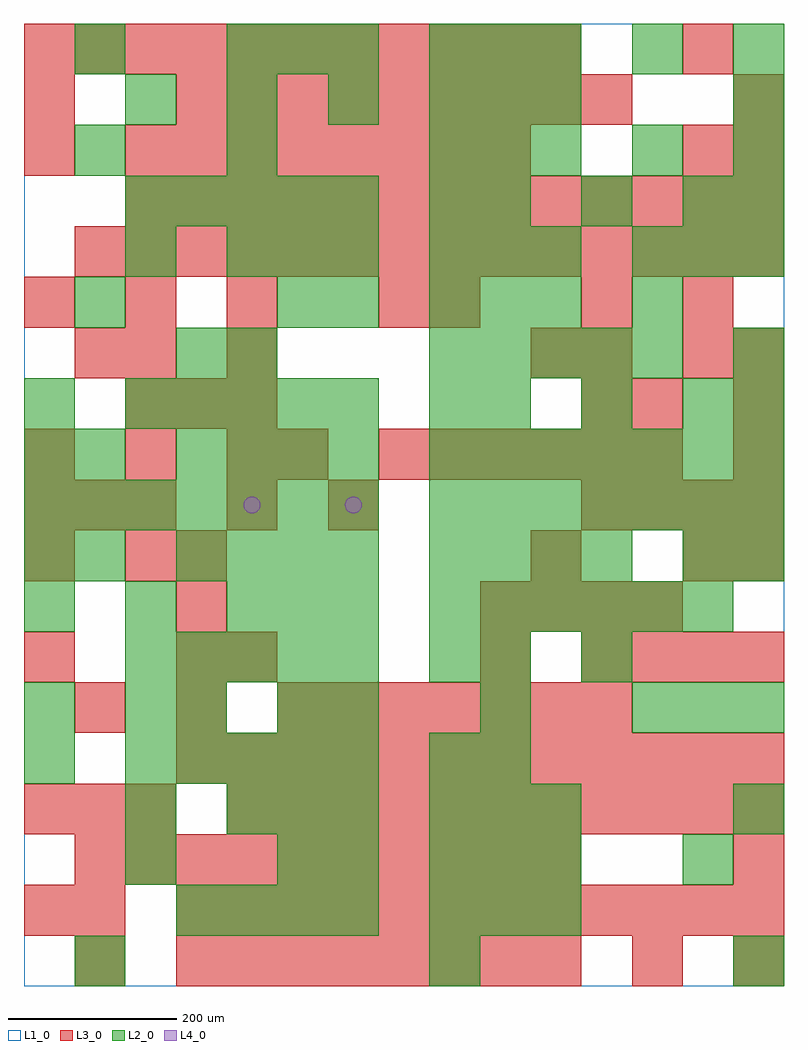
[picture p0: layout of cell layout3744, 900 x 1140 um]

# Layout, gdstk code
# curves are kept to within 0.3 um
import gdstk
lib = gdstk.Library(unit=1e-6, precision=1e-09)
def R(c, l, rs):  # rectangles x0, y0, x1, y1
    for r in rs: c.add(gdstk.rectangle(r[:2], r[2:], *l))
def A(c, l, x, y, w, h, nx, ny, dx, dy):  # array of equal rectangles
    R(c, l, [(x+i*dx, y+j*dy, x+i*dx+w, y+j*dy+h) for i in range(nx) for j in range(ny)])
def P(c, l, *ps):  # polygons
    for p in ps: c.add(gdstk.Polygon(p, *l))
L1_0 = (1, 0)
L2_0 = (2, 0)
L3_0 = (3, 0)
L4_0 = (4, 0)

layout3744 = lib.new_cell('layout3744')
R(layout3744, L1_0, [(0,0,900,1140)])
A(layout3744, L2_0, 180, 60, 60, 60, 4, 2, 60, 420)
A(layout3744, L2_0, 480, 60, 60, 60, 3, 3, 60, 60)
A(layout3744, L2_0, 780, 120, 60, 60, 1, 3, 0, 180)
A(layout3744, L2_0, 240, 180, 60, 60, 3, 2, 60, 660)
A(layout3744, L2_0, 120, 240, 60, 60, 5, 2, 60, 120)
A(layout3744, L2_0, 360, 300, 60, 60, 3, 1, 180, 0)
A(layout3744, L2_0, 840, 300, 60, 60, 1, 3, 0, 180)
A(layout3744, L2_0, 0, 420, 60, 60, 3, 1, 120, 0)
A(layout3744, L2_0, 480, 420, 60, 60, 6, 1, 60, 0)
A(layout3744, L2_0, 480, 480, 60, 60, 4, 1, 60, 0)
A(layout3744, L2_0, 0, 540, 60, 60, 7, 1, 60, 0)
A(layout3744, L2_0, 480, 540, 60, 60, 7, 2, 60, 60)
A(layout3744, L2_0, 60, 600, 60, 60, 1, 3, 0, 180)
A(layout3744, L2_0, 180, 600, 60, 60, 4, 1, 60, 0)
A(layout3744, L2_0, 120, 660, 60, 60, 5, 2, 60, 240)
A(layout3744, L2_0, 540, 660, 60, 60, 3, 2, 120, 240)
A(layout3744, L2_0, 480, 720, 60, 60, 5, 1, 60, 0)
A(layout3744, L2_0, 480, 780, 60, 60, 3, 2, 60, 60)
A(layout3744, L2_0, 720, 840, 60, 60, 3, 1, 60, 0)
A(layout3744, L2_0, 840, 900, 60, 60, 1, 4, 0, 60)
A(layout3744, L2_0, 480, 960, 60, 60, 3, 2, 60, 120)
A(layout3744, L2_0, 120, 1020, 60, 60, 4, 1, 120, 0)
A(layout3744, L2_0, 240, 1080, 60, 60, 3, 1, 60, 0)
R(layout3744, L2_0, [(60,0,120,60), (480,0,540,60), (840,0,900,60), (120,120,180,180), (300,120,360,180), (360,120,420,180), (120,180,180,240), (840,180,900,240), (0,240,60,300), (480,240,540,300), (540,240,600,300), (0,300,60,360), (120,300,180,360), (180,300,240,360), (300,300,360,360), (480,360,540,420), (540,360,600,420), (660,360,720,420), (300,420,360,480), (360,420,420,480), (0,480,60,540), (60,480,120,540), (0,600,60,660), (0,660,60,720), (480,660,540,720), (180,720,240,780), (240,720,300,780), (840,720,900,780), (300,780,360,840), (360,780,420,840), (720,780,780,840), (120,840,180,900), (480,900,540,960), (240,960,300,1020), (720,960,780,1020), (540,1020,600,1080), (600,1020,660,1080), (60,1080,120,1140), (720,1080,780,1140)])
A(layout3744, L3_0, 180, 0, 60, 60, 8, 1, 60, 0)
A(layout3744, L3_0, 180, 60, 60, 60, 12, 2, 60, 180)
A(layout3744, L3_0, 60, 120, 60, 60, 10, 1, 60, 0)
A(layout3744, L3_0, 0, 180, 60, 60, 3, 2, 60, 360)
A(layout3744, L3_0, 240, 180, 60, 60, 11, 1, 60, 0)
A(layout3744, L3_0, 60, 300, 60, 60, 3, 1, 120, 0)
A(layout3744, L3_0, 360, 300, 60, 60, 6, 1, 60, 0)
A(layout3744, L3_0, 180, 360, 60, 60, 1, 3, 0, 60)
A(layout3744, L3_0, 240, 360, 60, 60, 1, 3, 0, 180)
A(layout3744, L3_0, 660, 360, 60, 60, 4, 2, 60, 180)
A(layout3744, L3_0, 540, 420, 60, 60, 4, 1, 60, 0)
A(layout3744, L3_0, 0, 600, 60, 60, 3, 2, 120, 180)
A(layout3744, L3_0, 420, 600, 60, 60, 6, 1, 60, 0)
A(layout3744, L3_0, 840, 600, 60, 60, 1, 3, 0, 60)
A(layout3744, L3_0, 120, 660, 60, 60, 3, 1, 60, 0)
A(layout3744, L3_0, 660, 660, 60, 60, 1, 3, 0, 60)
A(layout3744, L3_0, 60, 840, 60, 60, 14, 1, 60, 0)
A(layout3744, L3_0, 120, 900, 60, 60, 13, 1, 60, 0)
A(layout3744, L3_0, 120, 960, 60, 60, 8, 1, 60, 0)
A(layout3744, L3_0, 180, 1020, 60, 60, 9, 1, 60, 0)
A(layout3744, L3_0, 0, 1080, 60, 60, 11, 1, 60, 0)
R(layout3744, L3_0, [(60,0,120,60), (720,0,780,60), (840,0,900,60), (0,60,60,120), (60,60,120,120), (840,120,900,180), (0,360,60,420), (540,360,600,420), (0,480,60,540), (120,480,180,540), (600,480,660,540), (780,480,840,540), (840,480,900,540), (360,540,420,600), (300,600,360,660), (720,660,780,720), (60,720,120,780), (120,720,180,780), (600,720,660,780), (780,720,840,780), (420,780,480,840), (480,780,540,840), (780,780,840,840), (0,960,60,1020), (780,960,840,1020), (840,960,900,1020), (0,1020,60,1080), (840,1020,900,1080), (780,1080,840,1140)])
P(layout3744, L4_0, [(280,570),(279.239,573.827),(277.071,577.071),(273.827,579.239),(270,580),(266.173,579.239),(262.929,577.071),(260.761,573.827),(260,570),(260.761,566.173),(262.929,562.929),(266.173,560.761),(270,560),(273.827,560.761),(277.071,562.929),(279.239,566.173)],
  [(400,570),(399.239,573.827),(397.071,577.071),(393.827,579.239),(390,580),(386.173,579.239),(382.929,577.071),(380.761,573.827),(380,570),(380.761,566.173),(382.929,562.929),(386.173,560.761),(390,560),(393.827,560.761),(397.071,562.929),(399.239,566.173)])

lib.write_gds('layout3744.gds')
